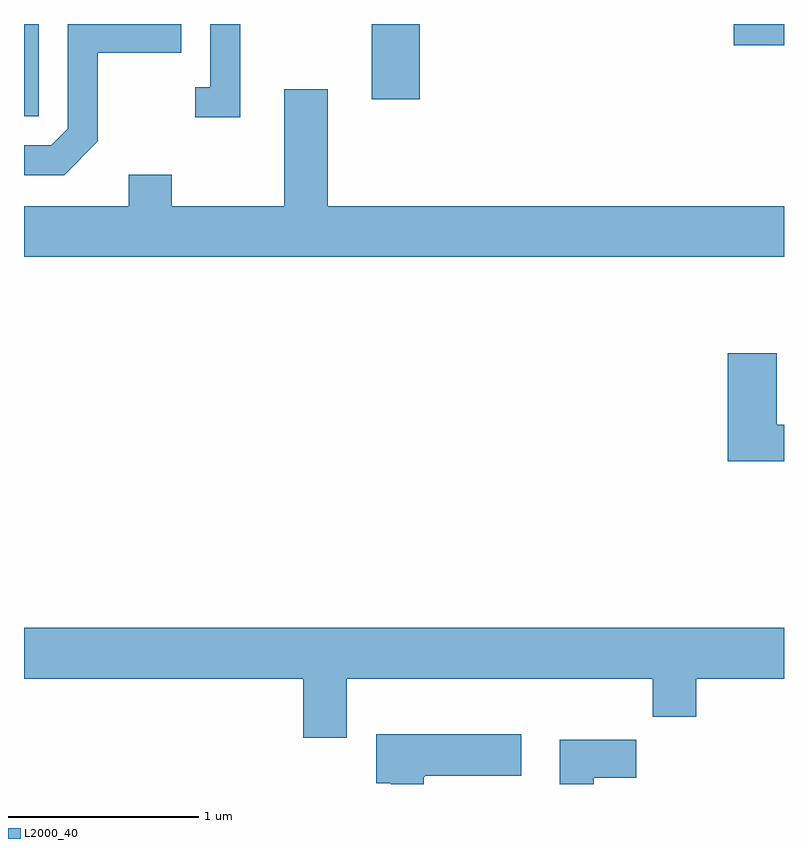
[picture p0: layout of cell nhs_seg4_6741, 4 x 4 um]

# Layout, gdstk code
import gdstk
lib = gdstk.Library(unit=1e-6, precision=1e-09)
def R(c, l, rs):  # rectangles x0, y0, x1, y1
    for r in rs: c.add(gdstk.rectangle(r[:2], r[2:], *l))
def P(c, l, *ps):  # polygons
    for p in ps: c.add(gdstk.Polygon(p, *l))
L2000_40 = (2000, 40)

nhs_seg4_6741 = lib.new_cell('nhs_seg4_6741')
R(nhs_seg4_6741, L2000_40, [(383.611,1275.496,383.689,1275.982), (385.441,1275.586,385.694,1275.982), (387.346,1275.871,387.611,1275.982)])
P(nhs_seg4_6741, L2000_40, [(384.749,1275.982),(384.591,1275.982),(384.591,1275.649),(384.513,1275.649),(384.513,1275.491),(384.749,1275.491)],
  [(383.999,1275.364),(383.999,1275.831),(384.439,1275.831),(384.439,1275.982),(383.841,1275.982),(383.841,1275.432),(383.754,1275.344),(383.611,1275.344),(383.611,1275.186),(383.822,1275.186)],
  [(387.611,1275.024),(385.209,1275.024),(385.209,1275.639),(384.981,1275.639),(384.981,1275.024),(384.389,1275.024),(384.389,1275.189),(384.161,1275.189),(384.161,1275.024),(383.611,1275.024),(383.611,1274.756),(387.611,1274.756)],
  [(387.611,1273.874),(387.574,1273.874),(387.574,1274.249),(387.316,1274.249),(387.316,1273.681),(387.611,1273.681)],
  [(385.309,1272.536),(386.921,1272.536),(386.921,1272.336),(387.149,1272.336),(387.149,1272.536),(387.611,1272.536),(387.611,1272.804),(383.611,1272.804),(383.611,1272.536),(385.081,1272.536),(385.081,1272.226),(385.309,1272.226)],
  [(385.714,1272.02),(385.72,1272.02),(385.72,1272.026),(386.229,1272.026),(386.229,1272.244),(385.466,1272.244),(385.466,1271.986),(385.541,1271.986),(385.541,1271.982),(385.714,1271.982)],
  [(386.609,1272.016),(386.834,1272.016),(386.834,1272.214),(386.431,1272.214),(386.431,1271.982),(386.609,1271.982)])

lib.write_gds('nhs_seg4_6741.gds')
